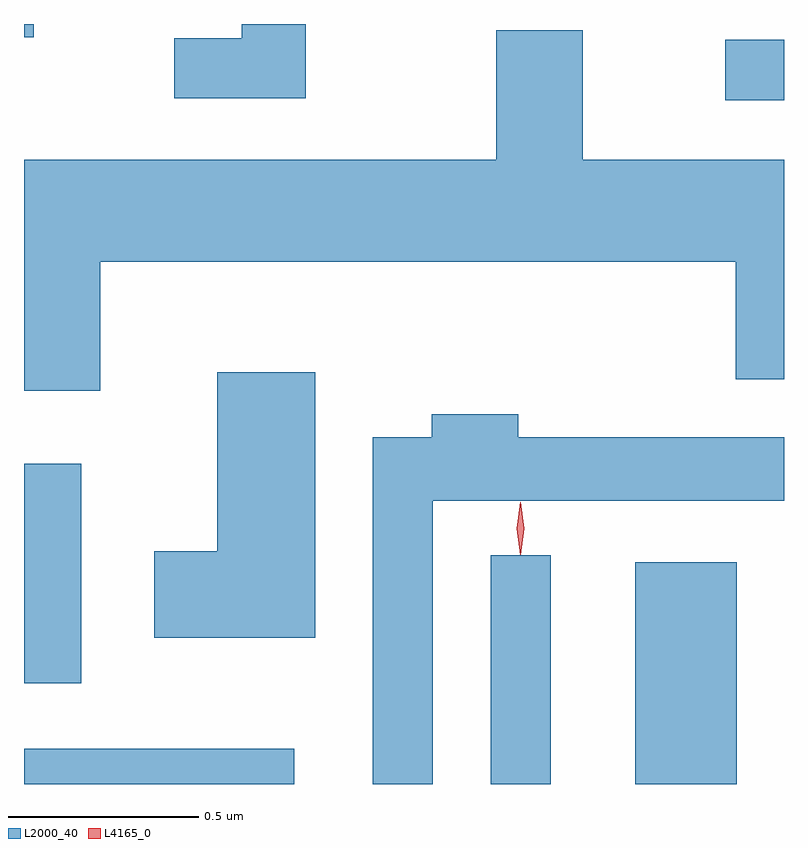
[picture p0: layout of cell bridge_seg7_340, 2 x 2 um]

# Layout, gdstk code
import gdstk
lib = gdstk.Library(unit=1e-6, precision=1e-09)
def R(c, l, rs):  # rectangles x0, y0, x1, y1
    for r in rs: c.add(gdstk.rectangle(r[:2], r[2:], *l))
def P(c, l, *ps):  # polygons
    for p in ps: c.add(gdstk.Polygon(p, *l))
L2000_40 = (2000, 40)
L4165_0 = (4165, 0)

bridge_seg7_340 = lib.new_cell('bridge_seg7_340')
R(bridge_seg7_340, L2000_40, [(1198.958,1768.441,1199.669,1768.534), (1200.186,1768.441,1200.344,1769.043), (1200.566,1768.441,1200.834,1769.024), (1198.958,1768.706,1199.109,1769.284), (1200.803,1770.241,1200.958,1770.399), (1198.958,1770.406,1198.984,1770.441)])
P(bridge_seg7_340, L2000_40, [(1199.699,1770.441),(1199.531,1770.441),(1199.531,1770.404),(1199.353,1770.404),(1199.353,1770.246),(1199.699,1770.246)],
  [(1199.159,1769.816),(1200.831,1769.816),(1200.831,1769.506),(1200.958,1769.506),(1200.958,1770.084),(1200.429,1770.084),(1200.429,1770.424),(1200.201,1770.424),(1200.201,1770.084),(1198.958,1770.084),(1198.958,1769.476),(1199.159,1769.476)],
  [(1199.724,1769.524),(1199.466,1769.524),(1199.466,1769.054),(1199.301,1769.054),(1199.301,1768.826),(1199.724,1768.826)],
  [(1200.034,1769.186),(1200.958,1769.186),(1200.958,1769.354),(1200.259,1769.354),(1200.259,1769.414),(1200.031,1769.414),(1200.031,1769.354),(1199.876,1769.354),(1199.876,1768.441),(1200.034,1768.441)])
P(bridge_seg7_340, L4165_0, [(1200.264,1769.044),(1200.255,1769.113),(1200.264,1769.183),(1200.265,1769.183),(1200.265,1769.183),(1200.275,1769.113),(1200.265,1769.044),(1200.265,1769.044)],
  [(1200.265,1769.047),(1200.264,1769.048),(1200.255,1769.114),(1200.264,1769.18),(1200.265,1769.181),(1200.265,1769.18),(1200.275,1769.114),(1200.265,1769.048)])

lib.write_gds('bridge_seg7_340.gds')
